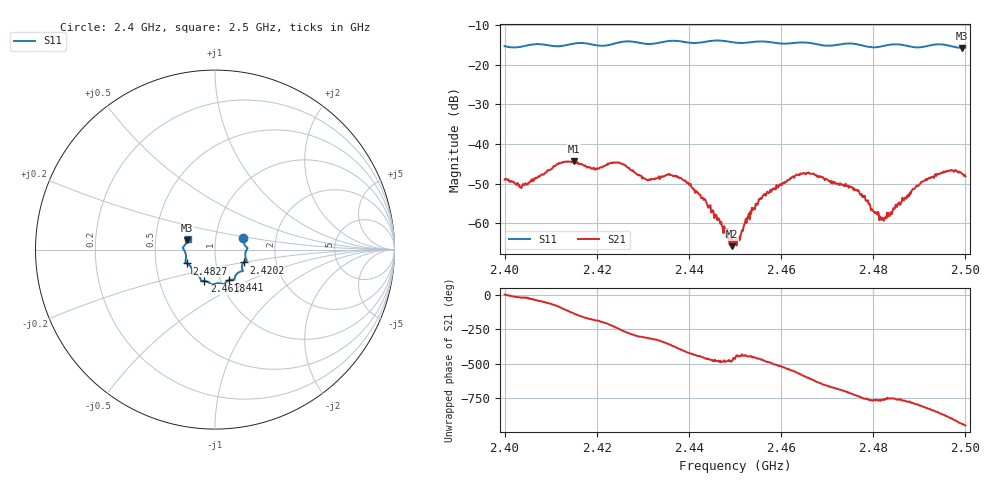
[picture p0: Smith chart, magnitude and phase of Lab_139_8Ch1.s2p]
# Hz S RI R 50
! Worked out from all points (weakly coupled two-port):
!   601 points, 2.4 GHz to 2.5 GHz, reference 50 ohm
!   highest |S21| = -44.40 dB at 2.415 GHz (marker M1); lowest = -65.8 dB at 2.4493 GHz (marker M2)
!   lowest |S11| = -15.8 dB at 2.4993 GHz (marker M3), VSWR 1.39, Z = 36.5 + j3.81 ohm
!   |S11| at or under -10 dB: start of sweep to end of sweep
!   S12 and S22 are empty: the file has one direction only
!   S11 on the Smith chart (normalised r, x): 2.4 GHz: 1.36, +0.18; 2.4202 GHz: 1.36, -0.20; 2.441 GHz: 1.10, -0.39; 2.4618 GHz: 0.84, -0.30; 2.4827 GHz: 0.72, -0.11; 2.5 GHz: 0.73, +0.09
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2.4e9  0.1587 0.0627  0.00353 0.000275  0 0  0 0
2.403833e9  0.1681 0.0214  0.00285 -0.000981  0 0  0 0
2.411833e9  0.1685 -0.0261  0.000562 -0.00575  0 0  0 0
2.415e9  0.1752 -0.0559  -0.00415 -0.00437  0 0  0 0
2.416667e9  0.177 -0.0609  -0.00501 -0.00227  0 0  0 0
2.420167e9  0.159 -0.0714  -0.00492 0.000465  0 0  0 0
2.424833e9  0.1535 -0.1126  -0.00233 0.00529  0 0  0 0
2.430667e9  0.1303 -0.1283  0.00232 0.00275  0 0  0 0
2.433333e9  0.1116 -0.1508  0.00328 0.00184  0 0  0 0
2.437167e9  0.1074 -0.1682  0.00363 -0.00137  0 0  0 0
2.441e9  0.0788 -0.1697  0.00075 -0.00256  0 0  0 0
2.449333e9  0.0349 -0.1887  -0.000236 -0.000457  0 0  0 0
2.45e9  0.0287 -0.1874  -0.000147 -0.000536  0 0  0 0
2.455667e9  -0.0152 -0.1954  -0.000706 -0.00191  0 0  0 0
2.461833e9  -0.0591 -0.1755  -0.00356 0.000144  0 0  0 0
2.466667e9  -0.0788 -0.1684  -0.00112 0.00405  0 0  0 0
2.476333e9  -0.1276 -0.1287  0.00258 -0.000592  0 0  0 0
2.482667e9  -0.1559 -0.0771  0.000908 -0.000766  0 0  0 0
2.483333e9  -0.1603 -0.075  0.00113 -0.000744  0 0  0 0
2.491e9  -0.1675 -0.0118  -0.000384 -0.00338  0 0  0 0
2.499333e9  -0.1542 0.0508  -0.00316 0.00278  0 0  0 0
2.5e9  -0.1523 0.0602  -0.00247 0.00302  0 0  0 0
